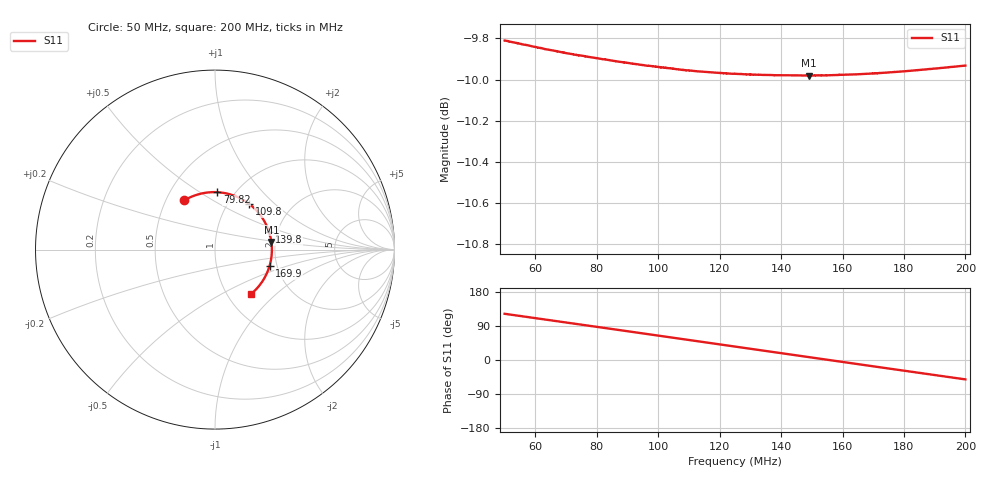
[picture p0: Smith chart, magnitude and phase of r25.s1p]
! COPPER MOUNTAIN TECHNOLOGIES, PLANAR TR1300/1, 00071119, 20.2.2/1.0
! Date: 1/7/2024 7:35:33 PM
! Data: Format [Calibration Info]
! Freq  S11: Re/Im F1
# HZ S RI R 50
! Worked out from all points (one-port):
!   12288 points, 50 MHz to 200 MHz, reference 50 ohm
!   lowest |S11| = -10.0 dB at 149 MHz (marker M1), VSWR 1.93, Z = 95.3 + j8.9 ohm
!   |S11| at or under -10 dB: nowhere
!   S11 on the Smith chart (normalised r, x): 50 MHz: 0.62, +0.38; 79.82 MHz: 0.83, +0.59; 109.8 MHz: 1.25, +0.71; 139.8 MHz: 1.80, +0.40; 169.9 MHz: 1.83, -0.37; 200 MHz: 1.28, -0.71
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5e7  -0.1711 0.2742
5.30398e7  -0.1539 0.2838
5.981525e7  -0.1138 0.3013
6.446651e7  -0.0851 0.3101
6.875153e7  -0.0581 0.3158
7.445267e7  -0.0216 0.3198
7.98242e7  0.013 0.3198
8.750305e7  0.062 0.3133
9.215431e7  0.0909 0.3058
9.687882e7  0.1195 0.2955
1.015057e8  0.1463 0.2828
1.062546e8  0.1725 0.2672
1.097583e8  0.1909 0.2542
1.176569e8  0.2286 0.2203
1.250061e8  0.2585 0.1839
1.325262e8  0.2832 0.1426
1.397778e8  0.3009 0.0997
1.437576e8  0.3079 0.0752
1.490315e8  0.3141 0.042
1.558192e8  0.317 -0.00128
1.625092e8  0.3141 -0.044
1.698584e8  0.3043 -0.09
1.754985e8  0.2923 -0.124
1.812607e8  0.2762 -0.1571
1.862538e8  0.2593 -0.1841
1.91491e8  0.2387 -0.2105
1.967649e8  0.2154 -0.2347
2e8  0.1999 -0.2482
